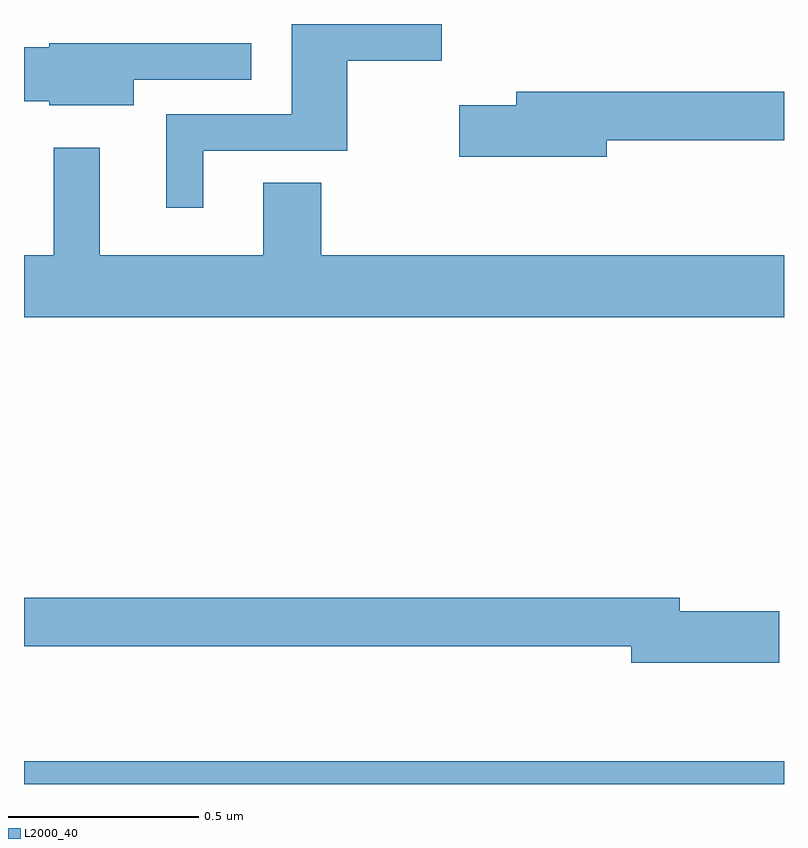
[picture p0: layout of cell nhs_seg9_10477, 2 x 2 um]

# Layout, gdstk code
import gdstk
lib = gdstk.Library(unit=1e-6, precision=1e-09)
def R(c, l, rs):  # rectangles x0, y0, x1, y1
    for r in rs: c.add(gdstk.rectangle(r[:2], r[2:], *l))
def P(c, l, *ps):  # polygons
    for p in ps: c.add(gdstk.Polygon(p, *l))
L2000_40 = (2000, 40)

nhs_seg9_10477 = lib.new_cell('nhs_seg9_10477')
R(nhs_seg9_10477, L2000_40, [(243,1220.5,245,1220.56)])
P(nhs_seg9_10477, L2000_40, [(243.472,1222.167),(243.85,1222.167),(243.85,1222.403),(244.099,1222.403),(244.099,1222.5),(243.704,1222.5),(243.704,1222.263),(243.374,1222.263),(243.374,1222.017),(243.472,1222.017)],
  [(243.289,1222.353),(243.598,1222.353),(243.598,1222.449),(243.285,1222.449),(243.285,1222.45),(243.066,1222.45),(243.066,1222.439),(243,1222.439),(243,1222.297),(243.066,1222.297),(243.066,1222.286),(243.289,1222.286)],
  [(244.534,1222.194),(245,1222.194),(245,1222.322),(244.295,1222.322),(244.295,1222.286),(244.146,1222.286),(244.146,1222.151),(244.534,1222.151)],
  [(245,1221.892),(243.782,1221.892),(243.782,1222.082),(243.629,1222.082),(243.629,1221.892),(243.199,1221.892),(243.199,1222.174),(243.078,1222.174),(243.078,1221.892),(243,1221.892),(243,1221.728),(245,1221.728)],
  [(244.987,1220.954),(244.726,1220.954),(244.726,1220.99),(243,1220.99),(243,1220.862),(244.598,1220.862),(244.598,1220.819),(244.987,1220.819)])

lib.write_gds('nhs_seg9_10477.gds')
